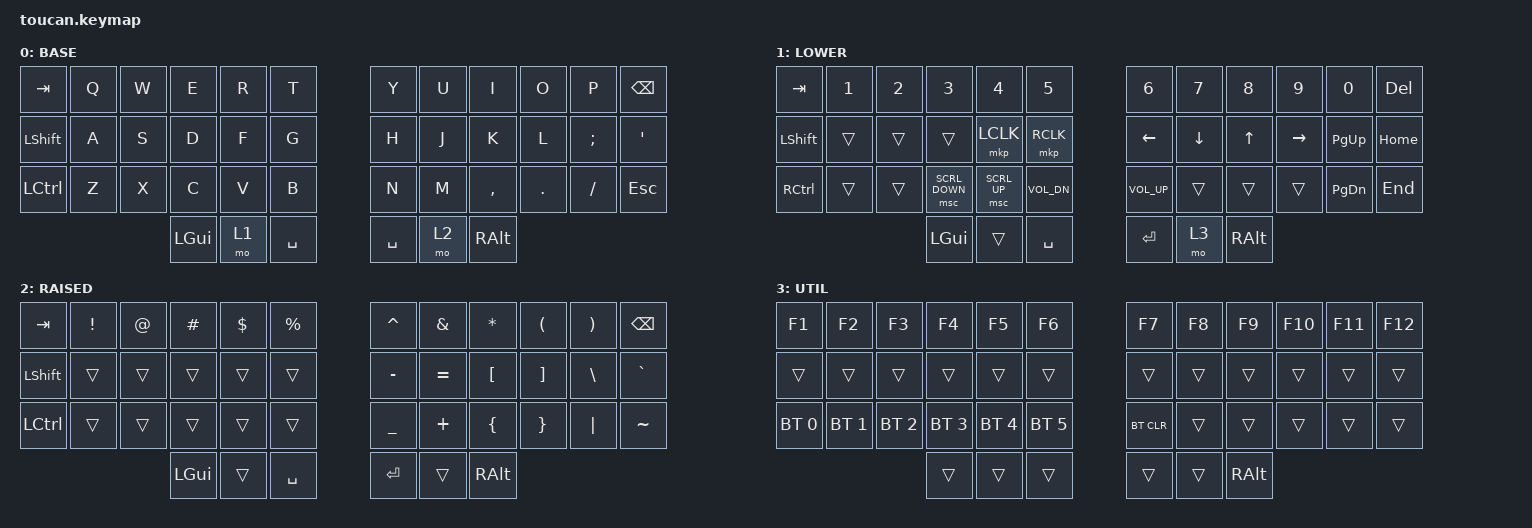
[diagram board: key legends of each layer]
/*
 * Copyright (c) 2020 The ZMK Contributors
 *
 * SPDX-License-Identifier: MIT
 */

#include <behaviors.dtsi>
#include <dt-bindings/zmk/keys.h>
#include <dt-bindings/zmk/bt.h>
#include <dt-bindings/zmk/pointing.h>

/ {
        keymap {
                compatible = "zmk,keymap";
                default_layer {
                display-name = "BASE";
// -----------------------------------------------------------------------------------------
// |  TAB |  Q  |  W  |  E  |  R  |  T  |   |  Y  |  U   |  I  |  O  |  P  | BSPC |
// | SHFT |  A  |  S  |  D  |  F  |  G  |   |  H  |  J   |  K  |  L  |  ;  |  '   |
// | CTRL |  Z  |  X  |  C  |  V  |  B  |   |  N  |  M   |  ,  |  .  |  /  | ESC  |
//                    | GUI | LWR | SPC |   | SPC | RSE  | ALT |
                        bindings = <
   &kp TAB   &kp Q &kp W &kp E &kp R &kp T   &kp Y &kp U  &kp I     &kp O   &kp P    &kp BSPC
   &kp LSHFT &kp A &kp S &kp D &kp F &kp G   &kp H &kp J  &kp K     &kp L   &kp SEMI &kp SQT
   &kp LCTRL &kp Z &kp X &kp C &kp V &kp B   &kp N &kp M  &kp COMMA &kp DOT &kp FSLH &kp ESC
                  &kp LGUI &mo 1 &kp SPACE   &kp SPACE &mo 2 &kp RALT
                        >;
                };


                lower_layer {
                display-name = "LOWER";
// -----------------------------------------------------------------------------------------
// |  TAB |  1  |  2  |  3  |  4  |  5  |   |  6  |  7  |  8  |  9  |  0  | DEL  |
// | SHFT |     |     |     | MLK | MRK |   | LFT | DWN |  UP | RGT |PG_UP| HOME |
// | CTRL |     |     |SCRLD|SCRLU|VOL- |   |VOL+ |     |     |     |PG_DN| ESC  |
//                    | GUI |     | SPC |   | ENT |     | ALT |
                        bindings = <
   &kp TAB    &kp N1 &kp N2 &kp N3 &kp N4 &kp N5         &kp N6 &kp N7 &kp N8 &kp N9 &kp N0 &kp DEL
   &kp LSHFT  &trans &trans &trans &mkp LCLK &mkp RCLK   &kp LEFT &kp DOWN &kp UP &kp RIGHT &kp PG_UP &kp HOME
   &kp RCTRL  &trans &trans &msc SCRL_DOWN &msc SCRL_UP &kp C_VOL_DN   &kp C_VOL_UP &trans &trans &trans &kp PG_DN &kp END
                  &kp LGUI &trans &kp SPACE              &kp RET &mo 3 &kp RALT
                        >;
                };

                raise_layer {
                display-name = "RAISED";
// -----------------------------------------------------------------------------------------
// |  TAB |  !  |  @  |  #  |  $  |  %  |   |  ^  |  &  |  *  |  (  |  )  | BSPC |
// | SHFT |     |     |     |     |     |   |  -  |  =  |  [  |  ]  |  \  |  `   |
// | CTRL |     |     |     |     |     |   |  _  |  +  |  {  |  }  | "|" |  ~   |
//                    | GUI |     | SPC |   | ENT |     | ALT |
                        bindings = <
   &kp  TAB  &kp EXCL &kp AT &kp HASH &kp DLLR &kp PRCNT   &kp CARET &kp AMPS  &kp ASTRK &kp LPAR &kp RPAR &kp BSPC
   &kp LSHFT &trans   &trans &trans   &trans   &trans      &kp MINUS &kp EQUAL &kp LBKT  &kp RBKT &kp BSLH &kp GRAVE
   &kp LCTRL &trans   &trans &trans   &trans   &trans      &kp UNDER &kp PLUS  &kp LBRC  &kp RBRC &kp PIPE &kp TILDE
                             &kp LGUI &trans   &kp SPACE   &kp RET   &trans    &kp RALT
                        >;
                };

                util_layer {
                display-name = "UTIL";
// -----------------------------------------------------------------------------------------
// |  F1  | F2  | F3  | F4  | F5  | F6  |   | F7  | F8  | F9  | F10 | F11 | F12  |
// |      |     |     |     |     |     |   |     |     |     |     |     |      |
// |  BT0 | BT1 | BT2 | BT3 | BT4 | BT5 |     |     |     |     |     |      |
//                    |     |     |     |   |     |     | ALT |
                        bindings = <
   &kp F1 &kp F2 &kp F3 &kp F4 &kp F5 &kp F6    &kp F7 &kp F8 &kp F9 &kp F10 &kp F11 &kp F12
   &trans &trans &trans &trans &trans &trans    &trans &trans &trans &trans &trans &trans
   &bt BT_SEL 0 &bt BT_SEL 1 &bt BT_SEL 2 &bt BT_SEL 3 &bt BT_SEL 4  &bt BT_SEL 5   &bt BT_CLR &trans &trans &trans &trans &trans
                        &trans &trans &trans    &trans &trans &kp RALT
                        >;
                };
        };
};
